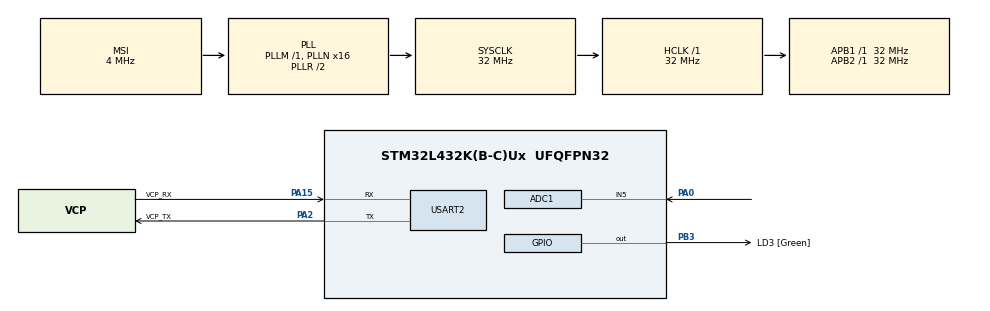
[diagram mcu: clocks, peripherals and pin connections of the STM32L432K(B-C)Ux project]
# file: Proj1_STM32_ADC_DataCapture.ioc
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ADC1.Channel-0\#ChannelRegularConversion=ADC_CHANNEL_5
ADC1.ContinuousConvMode=DISABLE
ADC1.NbrOfConversionFlag=1
ADC1.OffsetNumber-0\#ChannelRegularConversion=ADC_OFFSET_NONE
ADC1.Rank-0\#ChannelRegularConversion=1
ADC1.SamplingTime-0\#ChannelRegularConversion=ADC_SAMPLETIME_2CYCLES_5
ADC1.master=1
Mcu.Family=STM32L4
Mcu.Name=STM32L432K(B-C)Ux
Mcu.Package=UFQFPN32
NVIC.ADC1_IRQn=true\:0\:0\:false\:false\:true\:true\:true\:true
NVIC.PriorityGroup=NVIC_PRIORITYGROUP_4
PA0.Signal=ADCx_IN5
PA13\ (JTMS-SWDIO).GPIO_Label=SWDIO
PA13\ (JTMS-SWDIO).Mode=Serial_Wire
PA13\ (JTMS-SWDIO).Signal=SYS_JTMS-SWDIO
PA14\ (JTCK-SWCLK).GPIO_Label=SWCLK
PA14\ (JTCK-SWCLK).Mode=Serial_Wire
PA14\ (JTCK-SWCLK).Signal=SYS_JTCK-SWCLK
PA15\ (JTDI).GPIO_Label=VCP_RX
PA15\ (JTDI).Mode=Asynchronous
PA15\ (JTDI).Signal=USART2_RX
PA2.GPIO_Label=VCP_TX
PA2.Mode=Asynchronous
PA2.Signal=USART2_TX
PB3\ (JTDO-TRACESWO).GPIO_Label=LD3 [Green]
PB3\ (JTDO-TRACESWO).Signal=GPIO_Output
PC14-OSC32_IN\ (PC14).Mode=LSE-External-Oscillator
PC14-OSC32_IN\ (PC14).Signal=RCC_OSC32_IN
PC15-OSC32_OUT\ (PC15).Mode=LSE-External-Oscillator
PC15-OSC32_OUT\ (PC15).Signal=RCC_OSC32_OUT
ProjectManager.HeapSize=0x200
ProjectManager.StackSize=0x400
ProjectManager.TargetToolchain=STM32CubeIDE
RCC.ADCFreq_Value=32000000
RCC.AHBFreq_Value=32000000
RCC.APB1Freq_Value=32000000
RCC.APB1TimFreq_Value=32000000
RCC.APB2Freq_Value=32000000
RCC.APB2TimFreq_Value=32000000
RCC.CortexFreq_Value=32000000
RCC.HCLKFreq_Value=32000000
RCC.HSE_VALUE=8000000
RCC.HSI16_VALUE=16000000
RCC.HSI48_VALUE=48000000
RCC.HSI_VALUE=16000000
RCC.MSI_VALUE=4000000
RCC.PLLMUL=RCC_PLLMUL_4
RCC.PLLN=16
RCC.PLLSAI1N=16
RCC.SYSCLKFreq_VALUE=32000000
RCC.SYSCLKSource=RCC_SYSCLKSOURCE_PLLCLK
RCC.USBFreq_Value=32000000
RCC.VCOOutputFreq_Value=64000000
SH.ADCx_IN5.0=ADC1_IN5,IN5-Single-Ended
USART2.VirtualMode-Asynchronous=VM_ASYNC
board=NUCLEO-L432KC

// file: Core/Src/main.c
/* USER CODE BEGIN Header */
/**
  ******************************************************************************
  * @file           : main.c
  * @brief          : Main program body
  ******************************************************************************
  * @attention
  *
  * Copyright (c) 2024 STMicroelectronics.
  * All rights reserved.
  *
  * This software is licensed under terms that can be found in the LICENSE file
  * in the root directory of this software component.
  * If no LICENSE file comes with this software, it is provided AS-IS.
  *
  ******************************************************************************
  */
/* USER CODE END Header */
#include "main.h"

/* USER CODE BEGIN Includes */
#include <string.h>
#include <stdio.h>
/* USER CODE END Includes */

ADC_HandleTypeDef hadc1;

UART_HandleTypeDef huart2;

void SystemClock_Config(void);
static void MX_GPIO_Init(void);
static void MX_USART2_UART_Init(void);
static void MX_ADC1_Init(void);

int main(void)
{

  /* USER CODE BEGIN 1 */
	  uint16_t raw;		// Variable to store RAW ADC values
	  char msg[40];		// Array to print out ADC values through serial UART
	  double sum = 0;   // place to sum the values for mean calculation
	  int nSamples = 20; // number of samples to take
	  uint16_t count;	// ADC Capture Counter
  /* USER CODE END 1 */

  /* MCU Configuration--------------------------------------------------------*/

  /* Reset of all peripherals, Initializes the Flash interface and the Systick. */
  HAL_Init();

  /* Configure the system clock */
  SystemClock_Config();

  /* Initialize all configured peripherals */
  MX_GPIO_Init();
  MX_USART2_UART_Init();
  MX_ADC1_Init();

  /* Infinite loop */
  /* USER CODE BEGIN WHILE */

  count = 0; // Initiate Loop Counter to 0

  while (1)
  {
    /* USER CODE END WHILE */

    /* USER CODE BEGIN 3 */

	  // Capture samples of ADC Raw data and transmit through Serial Communications using UART protocol
	  if (count <= nSamples)
	  {
		   	  	 //Set LD3 LED to High - indicating start of capture
		  	  	 HAL_GPIO_WritePin(GPIOB, GPIO_PIN_3, GPIO_PIN_SET);

		  	     // Getting ADC value
		  	     HAL_ADC_Start(&hadc1); 							// Start the ADC capture
		  	     HAL_ADC_PollForConversion(&hadc1, HAL_MAX_DELAY); 	// Begin Reading A0 value
		  	     raw = HAL_ADC_GetValue(&hadc1);					// Store ADC raw data

		  	     // Convert to string and print
		  	     sprintf(msg, "ADC Value = %hu\r\n", raw);			// Create a message to send over UART

		  	     HAL_UART_Transmit(&huart2, (uint8_t*)msg, strlen(msg), HAL_MAX_DELAY); // Send message over UART

		  	     // Pretend we have to do something else for a while
		  	     HAL_Delay(500);			// Capture every second
		  	     count++;					// Increment loop counter

		  	     sum += raw;
	  }
	  else if (count == nSamples + 1)
	  {
		  	count++;
	  	  	sum = sum/nSamples;
	  	    sprintf(msg, "Mean Value = %4.2f\r\n", sum);			// Create a message to send over UART
	  	    HAL_UART_Transmit(&huart2, (uint8_t*)msg, strlen(msg), HAL_MAX_DELAY); // Send message over UART
	  }
	  else
	  {
		  	  	 HAL_ADC_Stop(&hadc1);					// Stop the ADC Capture after 20 cycles

	  }

	  HAL_GPIO_WritePin(GPIOB, GPIO_PIN_3, GPIO_PIN_RESET); 		// Set LD3 LED to indicate ADC has stopped acquisition

  }
  /* USER CODE END 3 */
}

void SystemClock_Config(void)
{
  RCC_OscInitTypeDef RCC_OscInitStruct = {0};
  RCC_ClkInitTypeDef RCC_ClkInitStruct = {0};

  /** Configure the main internal regulator output voltage
  */
  if (HAL_PWREx_ControlVoltageScaling(PWR_REGULATOR_VOLTAGE_SCALE1) != HAL_OK)
  {
    Error_Handler();
  }

  /** Configure LSE Drive Capability
  */
  HAL_PWR_EnableBkUpAccess();
  __HAL_RCC_LSEDRIVE_CONFIG(RCC_LSEDRIVE_LOW);

  /** Initializes the RCC Oscillators according to the specified parameters
  * in the RCC_OscInitTypeDef structure.
  */
  RCC_OscInitStruct.OscillatorType = RCC_OSCILLATORTYPE_LSE|RCC_OSCILLATORTYPE_MSI;
  RCC_OscInitStruct.LSEState = RCC_LSE_ON;
  RCC_OscInitStruct.MSIState = RCC_MSI_ON;
  RCC_OscInitStruct.MSICalibrationValue = 0;
  RCC_OscInitStruct.MSIClockRange = RCC_MSIRANGE_6;
  RCC_OscInitStruct.PLL.PLLState = RCC_PLL_ON;
  RCC_OscInitStruct.PLL.PLLSource = RCC_PLLSOURCE_MSI;
  RCC_OscInitStruct.PLL.PLLM = 1;
  RCC_OscInitStruct.PLL.PLLN = 16;
  RCC_OscInitStruct.PLL.PLLP = RCC_PLLP_DIV7;
  RCC_OscInitStruct.PLL.PLLQ = RCC_PLLQ_DIV2;
  RCC_OscInitStruct.PLL.PLLR = RCC_PLLR_DIV2;
  if (HAL_RCC_OscConfig(&RCC_OscInitStruct) != HAL_OK)
  {
    Error_Handler();
  }

  /** Initializes the CPU, AHB and APB buses clocks
  */
  RCC_ClkInitStruct.ClockType = RCC_CLOCKTYPE_HCLK|RCC_CLOCKTYPE_SYSCLK
                              |RCC_CLOCKTYPE_PCLK1|RCC_CLOCKTYPE_PCLK2;
  RCC_ClkInitStruct.SYSCLKSource = RCC_SYSCLKSOURCE_PLLCLK;
  RCC_ClkInitStruct.AHBCLKDivider = RCC_SYSCLK_DIV1;
  RCC_ClkInitStruct.APB1CLKDivider = RCC_HCLK_DIV1;
  RCC_ClkInitStruct.APB2CLKDivider = RCC_HCLK_DIV1;

  if (HAL_RCC_ClockConfig(&RCC_ClkInitStruct, FLASH_LATENCY_1) != HAL_OK)
  {
    Error_Handler();
  }

  /** Enable MSI Auto calibration
  */
  HAL_RCCEx_EnableMSIPLLMode();
}

static void MX_ADC1_Init(void)
{

  ADC_ChannelConfTypeDef sConfig = {0};

  /** Common config
  */
  hadc1.Instance = ADC1;
  hadc1.Init.ClockPrescaler = ADC_CLOCK_ASYNC_DIV1;
  hadc1.Init.Resolution = ADC_RESOLUTION_12B;
  hadc1.Init.DataAlign = ADC_DATAALIGN_RIGHT;
  hadc1.Init.ScanConvMode = ADC_SCAN_DISABLE;
  hadc1.Init.EOCSelection = ADC_EOC_SINGLE_CONV;
  hadc1.Init.LowPowerAutoWait = DISABLE;
  hadc1.Init.ContinuousConvMode = DISABLE;
  hadc1.Init.NbrOfConversion = 1;
  hadc1.Init.DiscontinuousConvMode = DISABLE;
  hadc1.Init.ExternalTrigConv = ADC_SOFTWARE_START;
  hadc1.Init.ExternalTrigConvEdge = ADC_EXTERNALTRIGCONVEDGE_NONE;
  hadc1.Init.DMAContinuousRequests = DISABLE;
  hadc1.Init.Overrun = ADC_OVR_DATA_PRESERVED;
  hadc1.Init.OversamplingMode = DISABLE;
  if (HAL_ADC_Init(&hadc1) != HAL_OK)
  {
    Error_Handler();
  }

  /** Configure Regular Channel
  */
  sConfig.Channel = ADC_CHANNEL_5;
  sConfig.Rank = ADC_REGULAR_RANK_1;
  sConfig.SamplingTime = ADC_SAMPLETIME_2CYCLES_5;
  sConfig.SingleDiff = ADC_SINGLE_ENDED;
  sConfig.OffsetNumber = ADC_OFFSET_NONE;
  sConfig.Offset = 0;
  if (HAL_ADC_ConfigChannel(&hadc1, &sConfig) != HAL_OK)
  {
    Error_Handler();
  }

}

static void MX_USART2_UART_Init(void)
{

  huart2.Instance = USART2;
  huart2.Init.BaudRate = 115200;
  huart2.Init.WordLength = UART_WORDLENGTH_8B;
  huart2.Init.StopBits = UART_STOPBITS_1;
  huart2.Init.Parity = UART_PARITY_NONE;
  huart2.Init.Mode = UART_MODE_TX_RX;
  huart2.Init.HwFlowCtl = UART_HWCONTROL_NONE;
  huart2.Init.OverSampling = UART_OVERSAMPLING_16;
  huart2.Init.OneBitSampling = UART_ONE_BIT_SAMPLE_DISABLE;
  huart2.AdvancedInit.AdvFeatureInit = UART_ADVFEATURE_NO_INIT;
  if (HAL_UART_Init(&huart2) != HAL_OK)
  {
    Error_Handler();
  }

}

static void MX_GPIO_Init(void)
{
  GPIO_InitTypeDef GPIO_InitStruct = {0};

  /* GPIO Ports Clock Enable */
  __HAL_RCC_GPIOC_CLK_ENABLE();
  __HAL_RCC_GPIOA_CLK_ENABLE();
  __HAL_RCC_GPIOB_CLK_ENABLE();

  /*Configure GPIO pin Output Level */
  HAL_GPIO_WritePin(LD3_GPIO_Port, LD3_Pin, GPIO_PIN_RESET);

  /*Configure GPIO pin : LD3_Pin */
  GPIO_InitStruct.Pin = LD3_Pin;
  GPIO_InitStruct.Mode = GPIO_MODE_OUTPUT_PP;
  GPIO_InitStruct.Pull = GPIO_NOPULL;
  GPIO_InitStruct.Speed = GPIO_SPEED_FREQ_LOW;
  HAL_GPIO_Init(LD3_GPIO_Port, &GPIO_InitStruct);

}

void Error_Handler(void)
{
  __disable_irq();
  while (1)
  {
  }
}
